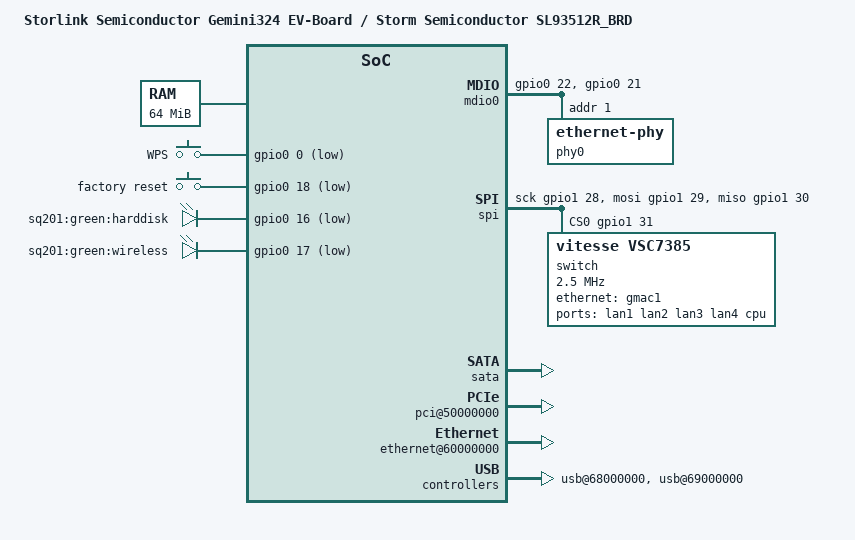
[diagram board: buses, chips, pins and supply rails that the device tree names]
// SPDX-License-Identifier: GPL-2.0
/*
 * Device Tree file for the Storm Semiconductor SL93512R_BRD
 * Gemini reference design, also initially called
 * "Gemini324 EV-Board" before Storm acquired Storlink Semiconductor.
 * The series were later acquired by Cortina Systems.
 */

/dts-v1/;

#include "gemini.dtsi"
#include <dt-bindings/input/input.h>

/ {
	model = "Storlink Semiconductor Gemini324 EV-Board / Storm Semiconductor SL93512R_BRD";
	compatible = "storlink,gemini324", "storm,sl93512r", "cortina,gemini";
	#address-cells = <1>;
	#size-cells = <1>;

	memory@0 {
		/* 64 MB Samsung K4H511638B */
		device_type = "memory";
		reg = <0x00000000 0x4000000>;
	};

	chosen {
		bootargs = "console=ttyS0,19200n8 root=/dev/mtdblock3 rw rootfstype=squashfs,jffs2 rootwait";
		stdout-path = &uart0;
	};

	gpio_keys {
		compatible = "gpio-keys";

		button-wps {
			debounce-interval = <50>;
			wakeup-source;
			linux,code = <KEY_WPS_BUTTON>;
			label = "WPS";
			/* Conflicts with TVC and extended flash */
			gpios = <&gpio0 0 GPIO_ACTIVE_LOW>;
		};

		button-setup {
			debounce-interval = <50>;
			wakeup-source;
			linux,code = <KEY_SETUP>;
			label = "factory reset";
			/* Conflict with NAND flash */
			gpios = <&gpio0 18 GPIO_ACTIVE_LOW>;
		};
	};

	leds {
		compatible = "gpio-leds";
		led-green-harddisk {
			label = "sq201:green:harddisk";
			/* Conflict with LCD (no problem) */
			gpios = <&gpio0 16 GPIO_ACTIVE_LOW>;
			default-state = "off";
			linux,default-trigger = "disk-activity";
		};
		led-green-wireless {
			label = "sq201:green:wireless";
			/* Conflict with NAND flash CE0 (no problem) */
			gpios = <&gpio0 17 GPIO_ACTIVE_LOW>;
			default-state = "on";
			linux,default-trigger = "heartbeat";
		};
	};

	mdio0: mdio {
		compatible = "virtual,mdio-gpio";
		/* Uses MDC and MDIO */
		gpios = <&gpio0 22 GPIO_ACTIVE_HIGH>, /* MDC */
			<&gpio0 21 GPIO_ACTIVE_HIGH>; /* MDIO */
		#address-cells = <1>;
		#size-cells = <0>;

		/* This is a Marvell 88E1111 ethernet transciever */
		phy0: ethernet-phy@1 {
			reg = <1>;
		};
	};

	spi {
		compatible = "spi-gpio";
		#address-cells = <1>;
		#size-cells = <0>;
		/* Check pin collisions */
		sck-gpios = <&gpio1 28 GPIO_ACTIVE_HIGH>;
		miso-gpios = <&gpio1 30 GPIO_ACTIVE_HIGH>;
		mosi-gpios = <&gpio1 29 GPIO_ACTIVE_HIGH>;
		cs-gpios = <&gpio1 31 GPIO_ACTIVE_HIGH>;
		num-chipselects = <1>;

		switch@0 {
			compatible = "vitesse,vsc7385";
			reg = <0>;
			/* Specified for 2.5 MHz or below */
			spi-max-frequency = <2500000>;
			gpio-controller;
			#gpio-cells = <2>;

			ports {
				#address-cells = <1>;
				#size-cells = <0>;

				port@0 {
					reg = <0>;
					label = "lan1";
				};
				port@1 {
					reg = <1>;
					label = "lan2";
				};
				port@2 {
					reg = <2>;
					label = "lan3";
				};
				port@3 {
					reg = <3>;
					label = "lan4";
				};
				vsc: port@6 {
					reg = <6>;
					label = "cpu";
					ethernet = <&gmac1>;
					phy-mode = "rgmii";
					fixed-link {
						speed = <1000>;
						full-duplex;
						pause;
					};
				};
			};
		};
	};


	soc {
		flash@30000000 {
			status = "okay";
			/* 16MB of flash */
			reg = <0x30000000 0x01000000>;

			partitions {
				compatible = "redboot-fis";
				/* Eraseblock at 0xfe0000 */
				fis-index-block = <0x1fc>;
			};
		};

		syscon: syscon@40000000 {
			pinctrl {
				/*
				 * gpio0agrp cover line 0, used by WPS button
				 * gpio0fgrp cover line 16 used by HD LED
				 * gpio0ggrp cover line 17, 18 used by wireless LAN LED and
				 * reset button OR USB ID select on 17 and USB VBUS select
				 * on 18. (Confusing.)
				 * gpio0igrp cover line 21, 22 used by MDIO for Marvell PHY
				 */
				gpio0_default_pins: pinctrl-gpio0 {
					mux {
						function = "gpio0";
						groups = "gpio0agrp",
						"gpio0fgrp",
						"gpio0ggrp",
						"gpio0igrp";
					};
				};
				/*
				 * gpio1dgrp cover lines used by SPI for
				 * the Vitesse chip (28-31)
				 */
				gpio1_default_pins: pinctrl-gpio1 {
					mux {
						function = "gpio1";
						groups = "gpio1dgrp";
					};
				};
				pinctrl-gmii {
					mux {
						function = "gmii";
						groups = "gmii_gmac0_grp", "gmii_gmac1_grp";
					};
					/* Control pad skew comes from sl_switch.c in the vendor code */
					conf0 {
						pins = "P10 GMAC1 TXC";
						skew-delay = <5>;
					};
					conf1 {
						pins = "V11 GMAC1 TXEN";
						skew-delay = <7>;
					};
					conf2 {
						pins = "T11 GMAC1 RXC";
						skew-delay = <8>;
					};
					conf3 {
						pins = "U11 GMAC1 RXDV";
						skew-delay = <7>;
					};
					conf4 {
						pins = "V7 GMAC0 TXC";
						skew-delay = <10>;
					};
					conf5 {
						pins = "P8 GMAC0 TXEN";
						skew-delay = <7>; /* 5 at another place? */
					};
					conf6 {
						pins = "T8 GMAC0 RXC";
						skew-delay = <15>;
					};
					conf7 {
						pins = "R8 GMAC0 RXDV";
						skew-delay = <0>;
					};
					conf8 {
						/* The data lines all have default skew */
						pins = "U8 GMAC0 RXD0", "V8 GMAC0 RXD1",
						       "P9 GMAC0 RXD2", "R9 GMAC0 RXD3",
						       "R11 GMAC1 RXD0", "P11 GMAC1 RXD1",
						       "V12 GMAC1 RXD2", "U12 GMAC1 RXD3",
						       "R10 GMAC1 TXD0", "T10 GMAC1 TXD1",
						       "U10 GMAC1 TXD2", "V10 GMAC1 TXD3";
						skew-delay = <7>;
					};
					/* Appears in sl351x_gmac.c in the vendor code */
					conf9 {
						pins = "U7 GMAC0 TXD0", "T7 GMAC0 TXD1",
						       "R7 GMAC0 TXD2", "P7 GMAC0 TXD3";
						skew-delay = <5>;
					};
				};
			};
		};

		/* Both interfaces brought out on SATA connectors */
		sata: sata@46000000 {
			cortina,gemini-ata-muxmode = <0>;
			cortina,gemini-enable-sata-bridge;
			status = "okay";
		};

		gpio0: gpio@4d000000 {
			pinctrl-names = "default";
			pinctrl-0 = <&gpio0_default_pins>;
		};

		gpio1: gpio@4e000000 {
			pinctrl-names = "default";
			pinctrl-0 = <&gpio1_default_pins>;
		};

		pci@50000000 {
			status = "okay";
		};

		ethernet@60000000 {
			status = "okay";

			ethernet-port@0 {
				phy-mode = "rgmii";
				phy-handle = <&phy0>;
			};
			ethernet-port@1 {
				phy-mode = "rgmii";
				fixed-link {
					speed = <1000>;
					full-duplex;
					pause;
				};
			};
		};

		ide@63000000 {
			status = "okay";
		};

		ide@63400000 {
			status = "okay";
		};

		usb@68000000 {
			status = "okay";
		};

		usb@69000000 {
			status = "okay";
		};
	};
};
